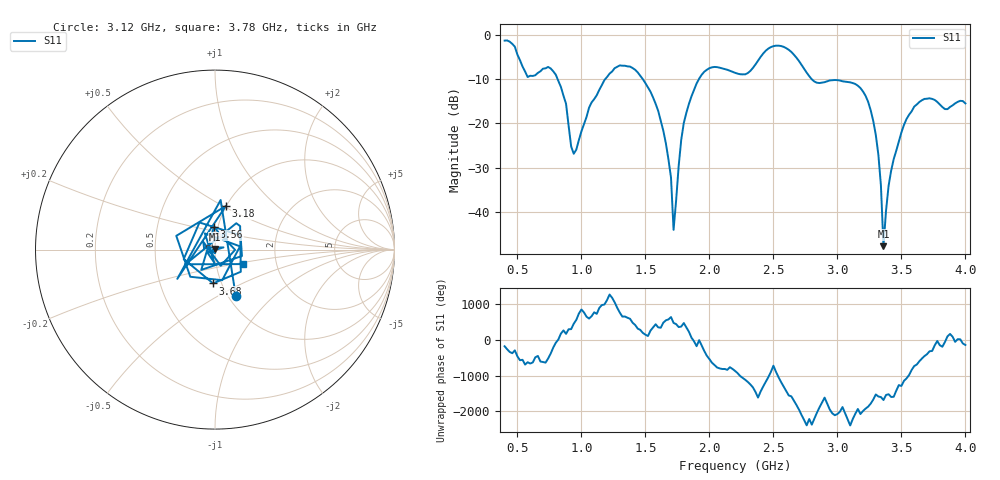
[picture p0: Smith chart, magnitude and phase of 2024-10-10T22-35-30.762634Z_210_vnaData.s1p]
! Created with skrf (http://scikit-rf.org).
# Hz S RI R 50.0
!freq ReS11 ImS11
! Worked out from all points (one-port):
!   181 points, 400 MHz to 4 GHz, reference 50 ohm
!   lowest |S11| = -47.8 dB at 3.36 GHz (marker M1), VSWR 1.01, Z = 49.9 + j0.384 ohm
!   |S11| at or under -10 dB: 813.7 MHz to 1.186 GHz (372.8 MHz wide, 37.3 % of centre); 1.479 GHz to 1.918 GHz (439.1 MHz wide, 25.8 % of centre); 2.798 GHz to end of sweep
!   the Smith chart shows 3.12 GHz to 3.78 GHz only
!   S11 on the Smith chart (normalised r, x): 3.12 GHz: 1.08, -0.61; 3.18 GHz: 1.00, +0.52; 3.56 GHz: 0.96, +0.24; 3.68 GHz: 0.91, -0.36; 3.78 GHz: 1.34, -0.22
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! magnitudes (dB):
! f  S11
! 400 MHz  -1.3
! 580 MHz  -9.5
! 760 MHz  -7.6
! 860 MHz  -13.8
! 940 MHz  -26.9
! 1.08 GHz  -15.3
! 1.3 GHz  -6.9
! 1.6 GHz  -17.2
! 1.7 GHz  -32.3
! 1.72 GHz  -44.1
! 1.76 GHz  -29.7
! 1.8 GHz  -19.9
! 1.92 GHz  -9.9
! 2.2 GHz  -8.6
! 2.5 GHz  -2.6
! 2.66 GHz  -4.5
! 2.82 GHz  -10.6
! 3.1 GHz  -10.7
! 3.12 GHz  -10.9
! 3.18 GHz  -12.0
! 3.3 GHz  -22.6
! 3.34 GHz  -34.0
! 3.36 GHz  -47.8
! 3.42 GHz  -30.7
! 3.56 GHz  -18.1
! 3.68 GHz  -14.5
! 3.78 GHz  -15.2
! 4 GHz  -15.5
